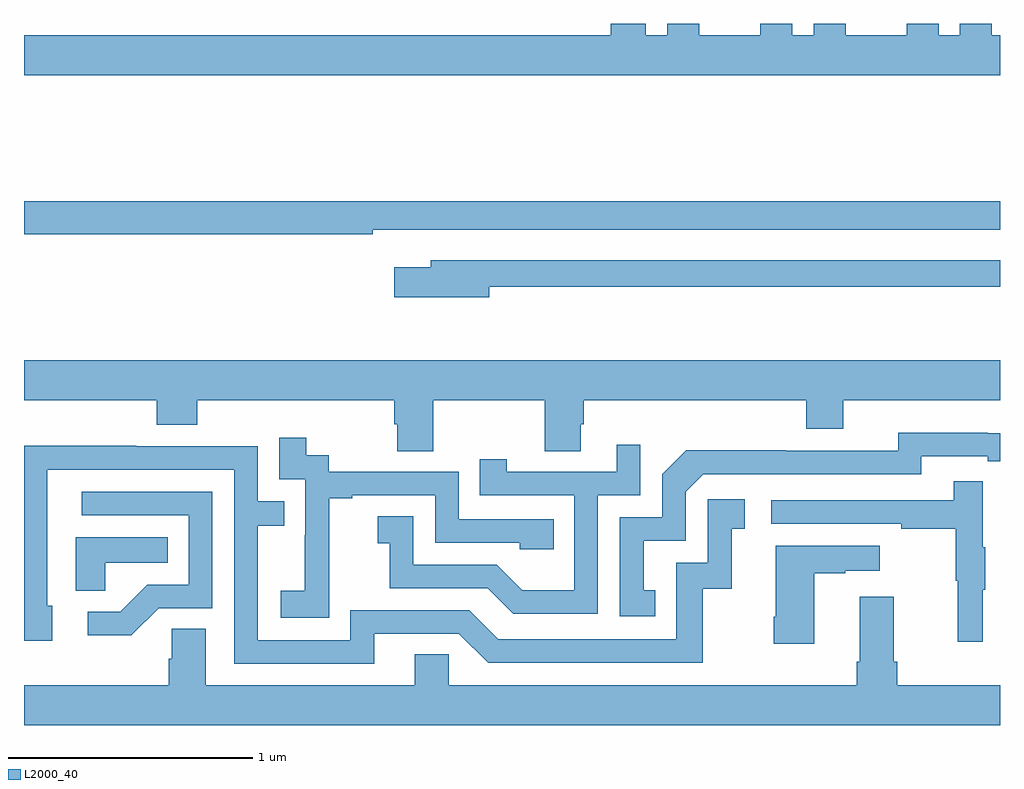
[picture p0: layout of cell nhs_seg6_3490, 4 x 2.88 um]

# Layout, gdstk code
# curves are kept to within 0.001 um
import gdstk
lib = gdstk.Library(unit=1e-6, precision=1e-09)
def P(c, l, *ps):  # polygons
    for p in ps: c.add(gdstk.Polygon(p, *l))
L2000_40 = (2000, 40)

nhs_seg6_3490 = lib.new_cell('nhs_seg6_3490')
P(nhs_seg6_3490, L2000_40, [(319,995.452),(318.967,995.452),(318.967,995.5),(318.836,995.5),(318.836,995.452),(318.748,995.452),(318.748,995.5),(318.617,995.5),(318.617,995.452),(318.367,995.452),(318.367,995.5),(318.236,995.5),(318.236,995.452),(318.148,995.452),(318.148,995.5),(318.017,995.5),(318.017,995.452),(317.767,995.452),(317.767,995.5),(317.636,995.5),(317.636,995.452),(317.548,995.452),(317.548,995.5),(317.405,995.5),(317.405,995.452),(315,995.452),(315,995.288),(319,995.288)],
  [(316.43,994.656),(319,994.656),(319,994.772),(315,994.772),(315,994.636),(316.43,994.636)],
  [(316.906,994.422),(319,994.422),(319,994.53),(316.667,994.53),(316.667,994.501),(316.518,994.501),(316.518,994.379),(316.906,994.379)],
  [(316.677,993.956),(317.134,993.956),(317.134,993.748),(317.281,993.748),(317.281,993.858),(317.294,993.858),(317.294,993.956),(318.206,993.956),(318.206,993.839),(318.358,993.839),(318.358,993.956),(319,993.956),(319,994.12),(315,994.12),(315,993.956),(315.545,993.956),(315.545,993.857),(315.71,993.857),(315.71,993.956),(316.517,993.956),(316.517,993.858),(316.529,993.858),(316.529,993.748),(316.677,993.748)],
  [(317.588,993.177),(317.539,993.177),(317.539,993.381),(317.712,993.381),(317.712,993.582),(317.784,993.654),(318.678,993.654),(318.678,993.726),(318.95,993.726),(318.95,993.706),(319,993.706),(319,993.822),(318.582,993.823),(318.582,993.75),(318.122,993.75),(318.122,993.752),(317.714,993.752),(317.616,993.654),(317.616,993.477),(317.442,993.477),(317.442,993.072),(317.588,993.072)],
  [(316.251,993.271),(316.25,993.271),(316.25,993.555),(316.345,993.555),(316.345,993.567),(316.686,993.567),(316.686,993.372),(317.031,993.372),(317.031,993.345),(317.171,993.345),(317.171,993.468),(316.782,993.468),(316.782,993.663),(316.248,993.663),(316.248,993.732),(316.156,993.732),(316.156,993.802),(316.047,993.802),(316.047,993.633),(316.152,993.633),(316.152,993.404),(316.151,993.404),(316.151,993.175),(316.053,993.175),(316.053,993.065),(316.251,993.065)],
  [(317.352,993.567),(317.526,993.567),(317.526,993.775),(317.429,993.775),(317.429,993.663),(316.978,993.663),(316.978,993.715),(316.867,993.715),(316.867,993.567),(317.256,993.567),(317.256,993.178),(317.042,993.178),(316.938,993.282),(316.596,993.282),(316.596,993.481),(316.449,993.481),(316.449,993.371),(316.498,993.371),(316.498,993.186),(316.901,993.186),(317.006,993.081),(317.352,993.081)],
  [(316.435,993),(316.782,993),(316.902,992.88),(317.782,992.88),(317.782,993.183),(317.9,993.183),(317.9,993.429),(317.953,993.429),(317.953,993.55),(317.802,993.55),(317.802,993.291),(317.673,993.291),(317.673,992.976),(316.944,992.976),(316.824,993.096),(316.338,993.096),(316.338,992.973),(315.957,992.973),(315.957,993.442),(316.067,993.442),(316.067,993.543),(315.957,993.543),(315.957,993.768),(315.461,993.768),(315.461,993.77),(315,993.77),(315,992.97),(315.115,992.97),(315.115,993.114),(315.096,993.114),(315.096,993.672),(315.861,993.672),(315.861,992.877),(316.435,992.877)],
  [(318.929,993.179),(318.94,993.179),(318.94,993.353),(318.929,993.353),(318.929,993.625),(318.811,993.625),(318.811,993.546),(318.063,993.546),(318.063,993.45),(318.595,993.45),(318.595,993.43),(318.819,993.43),(318.819,993.216),(318.826,993.216),(318.826,992.967),(318.929,992.967)],
  [(315.552,993.105),(315.771,993.105),(315.771,993.582),(315.237,993.582),(315.237,993.486),(315.675,993.486),(315.675,993.201),(315.506,993.201),(315.395,993.09),(315.261,993.09),(315.261,992.993),(315.439,992.993)],
  [(315.333,993.29),(315.59,993.29),(315.59,993.394),(315.212,993.394),(315.212,993.175),(315.333,993.175)],
  [(318.238,993.247),(318.365,993.247),(318.365,993.257),(318.508,993.257),(318.508,993.361),(318.08,993.361),(318.08,993.07),(318.073,993.07),(318.073,992.958),(318.238,992.958)],
  [(319,992.788),(318.578,992.788),(318.578,992.884),(318.565,992.884),(318.565,993.151),(318.425,993.151),(318.425,992.884),(318.413,992.884),(318.413,992.788),(316.74,992.788),(316.74,992.915),(316.601,992.915),(316.601,992.788),(315.745,992.788),(315.745,993.02),(315.606,993.02),(315.606,992.897),(315.593,992.897),(315.593,992.788),(315,992.788),(315,992.624),(319,992.624)])

lib.write_gds('nhs_seg6_3490.gds')
